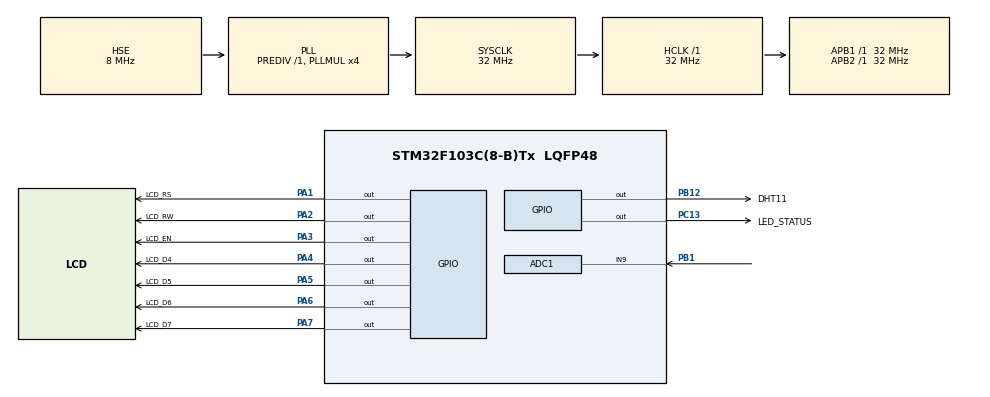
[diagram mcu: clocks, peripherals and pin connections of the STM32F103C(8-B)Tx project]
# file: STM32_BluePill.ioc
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ADC1.Channel-3\#ChannelRegularConversion=ADC_CHANNEL_9
ADC1.NbrOfConversion=1
ADC1.NbrOfConversionFlag=1
ADC1.Rank-3\#ChannelRegularConversion=1
ADC1.SamplingTime-3\#ChannelRegularConversion=ADC_SAMPLETIME_1CYCLE_5
ADC1.master=1
Mcu.Family=STM32F1
Mcu.Name=STM32F103C(8-B)Tx
Mcu.Package=LQFP48
NVIC.PriorityGroup=NVIC_PRIORITYGROUP_4
PA1.GPIO_Label=LCD_RS
PA1.Signal=GPIO_Output
PA13.Mode=Serial_Wire
PA13.Signal=SYS_JTMS-SWDIO
PA14.Mode=Serial_Wire
PA14.Signal=SYS_JTCK-SWCLK
PA2.GPIO_Label=LCD_RW
PA2.Signal=GPIO_Output
PA3.GPIO_Label=LCD_EN
PA3.Signal=GPIO_Output
PA4.GPIO_Label=LCD_D4
PA4.Signal=GPIO_Output
PA5.GPIO_Label=LCD_D5
PA5.Signal=GPIO_Output
PA6.GPIO_Label=LCD_D6
PA6.Signal=GPIO_Output
PA7.GPIO_Label=LCD_D7
PA7.Signal=GPIO_Output
PB1.Signal=ADCx_IN9
PB12.GPIO_Label=DHT11
PB12.Signal=GPIO_Output
PC13-TAMPER-RTC.GPIO_Label=LED_STATUS
PC13-TAMPER-RTC.Signal=GPIO_Output
PC14-OSC32_IN.Mode=LSE-External-Oscillator
PC14-OSC32_IN.Signal=RCC_OSC32_IN
PC15-OSC32_OUT.Mode=LSE-External-Oscillator
PC15-OSC32_OUT.Signal=RCC_OSC32_OUT
PD0-OSC_IN.Mode=HSE-External-Oscillator
PD0-OSC_IN.Signal=RCC_OSC_IN
PD1-OSC_OUT.Mode=HSE-External-Oscillator
PD1-OSC_OUT.Signal=RCC_OSC_OUT
ProjectManager.HeapSize=0x200
ProjectManager.StackSize=0x400
ProjectManager.TargetToolchain=EWARM V8.32
RCC.ADCPresc=RCC_ADCPCLK2_DIV4
RCC.AHBFreq_Value=32000000
RCC.APB1Freq_Value=32000000
RCC.APB1TimFreq_Value=32000000
RCC.APB2Freq_Value=32000000
RCC.APB2TimFreq_Value=32000000
RCC.HCLKFreq_Value=32000000
RCC.PLLMUL=RCC_PLL_MUL4
RCC.PLLSourceVirtual=RCC_PLLSOURCE_HSE
RCC.RTCClockSelection=RCC_RTCCLKSOURCE_LSE
RCC.SYSCLKFreq_VALUE=32000000
RCC.SYSCLKSource=RCC_SYSCLKSOURCE_PLLCLK
RCC.USBFreq_Value=32000000
RTC.Date=12
RTC.Hours=8
RTC.Minutes=30
RTC.Month=RTC_MONTH_NOVEMBER
RTC.WeekDay=RTC_WEEKDAY_THURSDAY
SH.ADCx_IN9.0=ADC1_IN9,IN9
TIM1.Period=0xffff-1
TIM1.Prescaler=32-1
VP_RTC_No_RTC_Output.Mode=RTC_OUT_NO
VP_RTC_VS_RTC_Activate.Mode=RTC_Enabled
VP_RTC_VS_RTC_Calendar.Mode=RTC_Calendar
VP_TIM1_VS_ClockSourceINT.Mode=Internal
board=custom

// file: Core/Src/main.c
/* USER CODE BEGIN Header */
/**
  ******************************************************************************
  * @file           : main.c
  * @brief          : Main program body
  ******************************************************************************
  * @attention
  *
  * <h2><center>&copy; Copyright (c) 2020 STMicroelectronics.
  * All rights reserved.</center></h2>
  *
  * This software component is licensed by ST under BSD 3-Clause license,
  * the "License"; You may not use this file except in compliance with the
  * License. You may obtain a copy of the License at:
  *                        opensource.org/licenses/BSD-3-Clause
  *
  ******************************************************************************
  */
/* USER CODE END Header */
#include "main.h"

/* USER CODE BEGIN Includes */
#include "api_lcd.h"
#include "api_rtc.h"
#include "api_ph.h"
#include "ui.h"
#include "datetime.h"
#include "api_sensor_dht11.h"

/* USER CODE END Includes */

ADC_HandleTypeDef hadc1;

RTC_HandleTypeDef hrtc;

TIM_HandleTypeDef htim1;

void SystemClock_Config(void);
static void MX_GPIO_Init(void);
static void MX_TIM1_Init(void);
static void MX_RTC_Init(void);
static void MX_ADC1_Init(void);

/* USER CODE BEGIN 0 */
void delay (uint16_t us)
{
  __HAL_TIM_SET_COUNTER(&htim1, 0);
  while (__HAL_TIM_GET_COUNTER(&htim1) < us);
}

/* USER CODE END 0 */

int main(void)
{
  /* USER CODE BEGIN 1 */
  uint8_t Ui_Disp_Buffer[20+1];

  uint8_t Rh_byte1, Rh_byte2, Temp_byte1, Temp_byte2, Check_byte;
  uint8_t checksum;

  uint8_t Presence = 0;

  uint16_t raw = 0;

  /* USER CODE END 1 */

  /* MCU Configuration--------------------------------------------------------*/

  /* Reset of all peripherals, Initializes the Flash interface and the Systick. */
  HAL_Init();

  /* Configure the system clock */
  SystemClock_Config();

  /* Initialize all configured peripherals */
  MX_GPIO_Init();
  MX_TIM1_Init();
  MX_RTC_Init();
  MX_ADC1_Init();
  /* USER CODE BEGIN 2 */
  HAL_TIM_Base_Start(&htim1);

  // Get date for the first time
  refresh_global_datetime();

  display_welcome();

  /* USER CODE END 2 */

  /* Infinite loop */
  while (1)
  {

    /* USER CODE BEGIN 3 */
    // Time
    refresh_global_datetime();

    // Temperatura y Humedad
    DHT11_Start();
	  Presence = DHT11_Check_Response();
	  Rh_byte1 = DHT11_Read();
	  Rh_byte2 = DHT11_Read();
	  Temp_byte1 = DHT11_Read();
	  Temp_byte2 = DHT11_Read();
	  Check_byte = DHT11_Read();
    if(Presence == 1)
    {
      checksum = Rh_byte1+Rh_byte2+Temp_byte1+Temp_byte2;
      if(checksum  == Check_byte)
      {
        Display_Temp(Temp_byte1);
        Display_Rh(Rh_byte1);
      }
      else
      {
        lcd_put_cur(2, 0);
        lcd_send_string("ERROR: CHECKSUM");
      }
    }
    else
    {
      lcd_put_cur(2, 0);
      lcd_send_string("ERROR: RESPONSE");
    }
   // Alarma me pasИ de la temperatura
    if(Temp_byte1 > 30)
    {
      for(int i = 0 ; i < 20 ; i++)
      {
          HAL_GPIO_TogglePin(LED_STATUS_GPIO_Port, LED_STATUS_Pin);
          HAL_Delay(100);
      }
    }
    //
    raw = ADC_GetValue();
    Display_Ph(raw);

    //Imprimir fecha y hora
    clock_to_ascii(Ui_Disp_Buffer, Global_Date);
    lcd_send_cmd (0x80);
    lcd_send_string ((char*)Ui_Disp_Buffer);

    //
    HAL_GPIO_TogglePin(LED_STATUS_GPIO_Port, LED_STATUS_Pin);
    HAL_Delay(1000);
  }
  /* USER CODE END 3 */
}

void SystemClock_Config(void)
{
  RCC_OscInitTypeDef RCC_OscInitStruct = {0};
  RCC_ClkInitTypeDef RCC_ClkInitStruct = {0};
  RCC_PeriphCLKInitTypeDef PeriphClkInit = {0};

  /** Initializes the RCC Oscillators according to the specified parameters
  * in the RCC_OscInitTypeDef structure.
  */
  RCC_OscInitStruct.OscillatorType = RCC_OSCILLATORTYPE_HSE|RCC_OSCILLATORTYPE_LSE;
  RCC_OscInitStruct.HSEState = RCC_HSE_ON;
  RCC_OscInitStruct.HSEPredivValue = RCC_HSE_PREDIV_DIV1;
  RCC_OscInitStruct.LSEState = RCC_LSE_ON;
  RCC_OscInitStruct.HSIState = RCC_HSI_ON;
  RCC_OscInitStruct.PLL.PLLState = RCC_PLL_ON;
  RCC_OscInitStruct.PLL.PLLSource = RCC_PLLSOURCE_HSE;
  RCC_OscInitStruct.PLL.PLLMUL = RCC_PLL_MUL4;
  if (HAL_RCC_OscConfig(&RCC_OscInitStruct) != HAL_OK)
  {
    Error_Handler();
  }
  /** Initializes the CPU, AHB and APB buses clocks
  */
  RCC_ClkInitStruct.ClockType = RCC_CLOCKTYPE_HCLK|RCC_CLOCKTYPE_SYSCLK
                              |RCC_CLOCKTYPE_PCLK1|RCC_CLOCKTYPE_PCLK2;
  RCC_ClkInitStruct.SYSCLKSource = RCC_SYSCLKSOURCE_PLLCLK;
  RCC_ClkInitStruct.AHBCLKDivider = RCC_SYSCLK_DIV1;
  RCC_ClkInitStruct.APB1CLKDivider = RCC_HCLK_DIV1;
  RCC_ClkInitStruct.APB2CLKDivider = RCC_HCLK_DIV1;

  if (HAL_RCC_ClockConfig(&RCC_ClkInitStruct, FLASH_LATENCY_1) != HAL_OK)
  {
    Error_Handler();
  }
  PeriphClkInit.PeriphClockSelection = RCC_PERIPHCLK_RTC|RCC_PERIPHCLK_ADC;
  PeriphClkInit.RTCClockSelection = RCC_RTCCLKSOURCE_LSE;
  PeriphClkInit.AdcClockSelection = RCC_ADCPCLK2_DIV4;
  if (HAL_RCCEx_PeriphCLKConfig(&PeriphClkInit) != HAL_OK)
  {
    Error_Handler();
  }
}

static void MX_ADC1_Init(void)
{

  ADC_ChannelConfTypeDef sConfig = {0};

  /** Common config
  */
  hadc1.Instance = ADC1;
  hadc1.Init.ScanConvMode = ADC_SCAN_DISABLE;
  hadc1.Init.ContinuousConvMode = DISABLE;
  hadc1.Init.DiscontinuousConvMode = DISABLE;
  hadc1.Init.ExternalTrigConv = ADC_SOFTWARE_START;
  hadc1.Init.DataAlign = ADC_DATAALIGN_RIGHT;
  hadc1.Init.NbrOfConversion = 1;
  if (HAL_ADC_Init(&hadc1) != HAL_OK)
  {
    Error_Handler();
  }
  /** Configure Regular Channel
  */
  sConfig.Channel = ADC_CHANNEL_9;
  sConfig.Rank = ADC_REGULAR_RANK_1;
  sConfig.SamplingTime = ADC_SAMPLETIME_1CYCLE_5;
  if (HAL_ADC_ConfigChannel(&hadc1, &sConfig) != HAL_OK)
  {
    Error_Handler();
  }

}

static void MX_RTC_Init(void)
{

  RTC_TimeTypeDef sTime = {0};
  RTC_DateTypeDef DateToUpdate = {0};

  /** Initialize RTC Only
  */
  hrtc.Instance = RTC;
  hrtc.Init.AsynchPrediv = RTC_AUTO_1_SECOND;
  hrtc.Init.OutPut = RTC_OUTPUTSOURCE_NONE;
  if (HAL_RTC_Init(&hrtc) != HAL_OK)
  {
    Error_Handler();
  }

  /** Initialize RTC and set the Time and Date
  */
  sTime.Hours = 0x8;
  sTime.Minutes = 0x30;
  sTime.Seconds = 0x0;

  if (HAL_RTC_SetTime(&hrtc, &sTime, RTC_FORMAT_BCD) != HAL_OK)
  {
    Error_Handler();
  }
  DateToUpdate.WeekDay = RTC_WEEKDAY_THURSDAY;
  DateToUpdate.Month = RTC_MONTH_NOVEMBER;
  DateToUpdate.Date = 0x12;
  DateToUpdate.Year = 0x0;

  if (HAL_RTC_SetDate(&hrtc, &DateToUpdate, RTC_FORMAT_BCD) != HAL_OK)
  {
    Error_Handler();
  }

}

static void MX_TIM1_Init(void)
{

  TIM_ClockConfigTypeDef sClockSourceConfig = {0};
  TIM_MasterConfigTypeDef sMasterConfig = {0};

  htim1.Instance = TIM1;
  htim1.Init.Prescaler = 32-1;
  htim1.Init.CounterMode = TIM_COUNTERMODE_UP;
  htim1.Init.Period = 0xffff-1;
  htim1.Init.ClockDivision = TIM_CLOCKDIVISION_DIV1;
  htim1.Init.RepetitionCounter = 0;
  htim1.Init.AutoReloadPreload = TIM_AUTORELOAD_PRELOAD_DISABLE;
  if (HAL_TIM_Base_Init(&htim1) != HAL_OK)
  {
    Error_Handler();
  }
  sClockSourceConfig.ClockSource = TIM_CLOCKSOURCE_INTERNAL;
  if (HAL_TIM_ConfigClockSource(&htim1, &sClockSourceConfig) != HAL_OK)
  {
    Error_Handler();
  }
  sMasterConfig.MasterOutputTrigger = TIM_TRGO_RESET;
  sMasterConfig.MasterSlaveMode = TIM_MASTERSLAVEMODE_DISABLE;
  if (HAL_TIMEx_MasterConfigSynchronization(&htim1, &sMasterConfig) != HAL_OK)
  {
    Error_Handler();
  }

}

static void MX_GPIO_Init(void)
{
  GPIO_InitTypeDef GPIO_InitStruct = {0};

  /* GPIO Ports Clock Enable */
  __HAL_RCC_GPIOC_CLK_ENABLE();
  __HAL_RCC_GPIOD_CLK_ENABLE();
  __HAL_RCC_GPIOA_CLK_ENABLE();
  __HAL_RCC_GPIOB_CLK_ENABLE();

  /*Configure GPIO pin Output Level */
  HAL_GPIO_WritePin(LED_STATUS_GPIO_Port, LED_STATUS_Pin, GPIO_PIN_RESET);

  /*Configure GPIO pin Output Level */
  HAL_GPIO_WritePin(GPIOA, LCD_RS_Pin|LCD_RW_Pin|LCD_EN_Pin|LCD_D4_Pin
                          |LCD_D5_Pin|LCD_D6_Pin|LCD_D7_Pin, GPIO_PIN_RESET);

  /*Configure GPIO pin Output Level */
  HAL_GPIO_WritePin(DHT11_GPIO_Port, DHT11_Pin, GPIO_PIN_RESET);

  /*Configure GPIO pin : LED_STATUS_Pin */
  GPIO_InitStruct.Pin = LED_STATUS_Pin;
  GPIO_InitStruct.Mode = GPIO_MODE_OUTPUT_PP;
  GPIO_InitStruct.Pull = GPIO_NOPULL;
  GPIO_InitStruct.Speed = GPIO_SPEED_FREQ_LOW;
  HAL_GPIO_Init(LED_STATUS_GPIO_Port, &GPIO_InitStruct);

  /*Configure GPIO pins : LCD_RS_Pin LCD_RW_Pin LCD_EN_Pin LCD_D4_Pin
                           LCD_D5_Pin LCD_D6_Pin LCD_D7_Pin */
  GPIO_InitStruct.Pin = LCD_RS_Pin|LCD_RW_Pin|LCD_EN_Pin|LCD_D4_Pin
                          |LCD_D5_Pin|LCD_D6_Pin|LCD_D7_Pin;
  GPIO_InitStruct.Mode = GPIO_MODE_OUTPUT_PP;
  GPIO_InitStruct.Pull = GPIO_NOPULL;
  GPIO_InitStruct.Speed = GPIO_SPEED_FREQ_LOW;
  HAL_GPIO_Init(GPIOA, &GPIO_InitStruct);

  /*Configure GPIO pin : DHT11_Pin */
  GPIO_InitStruct.Pin = DHT11_Pin;
  GPIO_InitStruct.Mode = GPIO_MODE_OUTPUT_PP;
  GPIO_InitStruct.Pull = GPIO_NOPULL;
  GPIO_InitStruct.Speed = GPIO_SPEED_FREQ_LOW;
  HAL_GPIO_Init(DHT11_GPIO_Port, &GPIO_InitStruct);

}

void Error_Handler(void)
{
}

/************************ (C) COPYRIGHT STMicroelectronics *****END OF FILE****/
